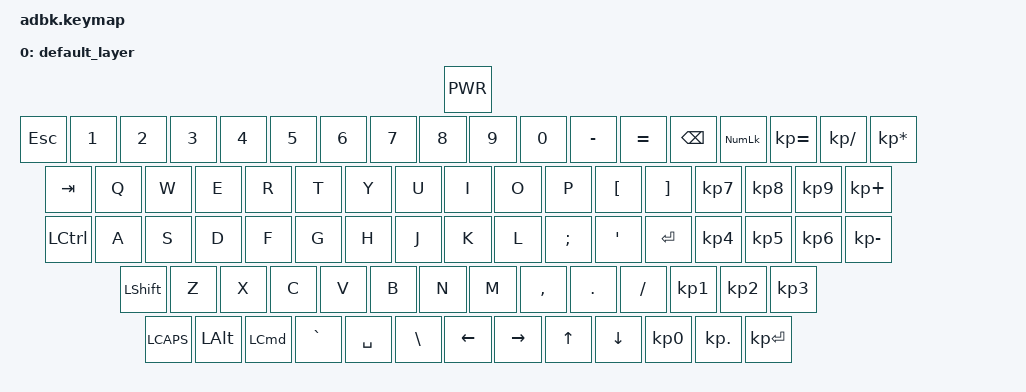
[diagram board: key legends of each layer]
#include <dt-bindings/zmk/keys.h>
#include <behaviors.dtsi>

/ {
    keymap {
        compatible = "zmk,keymap";

        default_layer {

            bindings = <
                                                    &kp K_PWR
    &kp ESC  &kp N1   &kp N2   &kp N3   &kp N4   &kp N5   &kp N6   &kp N7   &kp N8   &kp N9   &kp N0  &kp MINUS  &kp EQUAL &kp BSPC            &kp KP_NUM   &kp KP_EQUAL &kp KP_SLASH &kp KP_ASTERISK
    &kp TAB    &kp Q    &kp W    &kp E     &kp R     &kp T    &kp Y     &kp U     &kp I     &kp O     &kp P    &kp LBKT    &kp RBKT            &kp KP_N7    &kp KP_N8    &kp KP_N9    &kp KP_PLUS
    &kp LCTRL   &kp A    &kp S    &kp D     &kp F     &kp G    &kp H     &kp J     &kp K     &kp L     &kp SEMI  &kp APOS  &kp RET             &kp KP_N4    &kp KP_N5    &kp KP_N6    &kp KP_MINUS
    &kp LSHIFT    &kp Z    &kp X    &kp C     &kp V     &kp B    &kp N     &kp M     &kp COMMA     &kp DOT     &kp FSLH                        &kp KP_N1    &kp KP_N2    &kp KP_N3  
    &kp LCAPS  &kp LALT  &kp LCMD  &kp GRAVE               &kp SPACE                  &kp BSLH  &kp LEFT &kp RIGHT &kp UP &kp DOWN             &kp KP_N0                 &kp KP_DOT   &kp KP_ENTER
    >;
        };
    };
};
